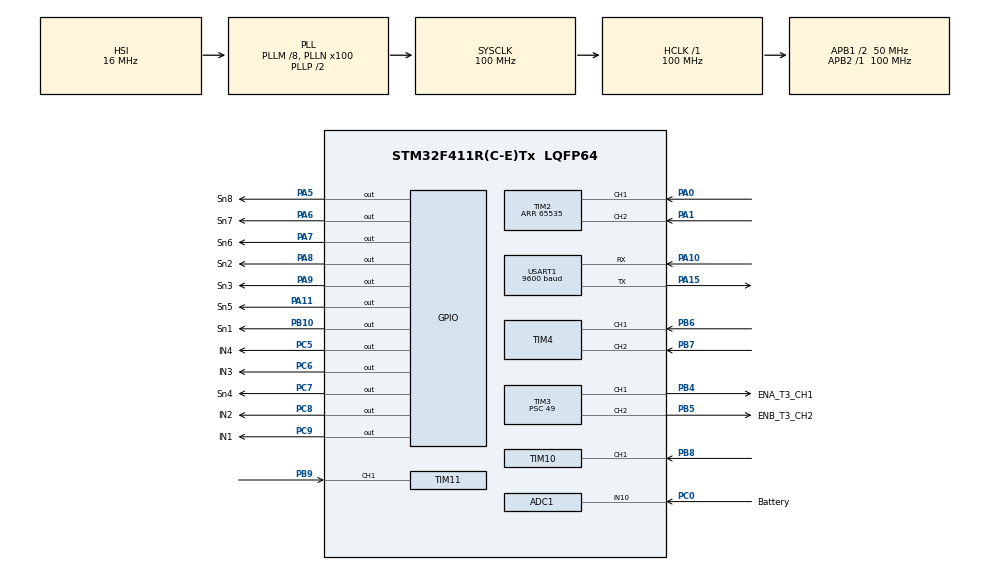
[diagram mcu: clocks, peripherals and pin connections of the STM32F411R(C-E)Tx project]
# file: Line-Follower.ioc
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ADC1.Channel-7\#ChannelRegularConversion=ADC_CHANNEL_10
ADC1.NbrOfConversionFlag=1
ADC1.Rank-7\#ChannelRegularConversion=1
ADC1.SamplingTime-7\#ChannelRegularConversion=ADC_SAMPLETIME_3CYCLES
ADC1.master=1
Dma.Request0=USART1_RX
Dma.USART1_RX.0.Direction=DMA_PERIPH_TO_MEMORY
Dma.USART1_RX.0.FIFOMode=DMA_FIFOMODE_DISABLE
Dma.USART1_RX.0.Instance=DMA2_Stream2
Dma.USART1_RX.0.MemDataAlignment=DMA_MDATAALIGN_BYTE
Dma.USART1_RX.0.MemInc=DMA_MINC_ENABLE
Dma.USART1_RX.0.Mode=DMA_NORMAL
Dma.USART1_RX.0.PeriphDataAlignment=DMA_PDATAALIGN_BYTE
Dma.USART1_RX.0.PeriphInc=DMA_PINC_DISABLE
Dma.USART1_RX.0.Priority=DMA_PRIORITY_LOW
FREERTOS.INCLUDE_vTaskDelayUntil=1
FREERTOS.Mutexes01=speedLeftMutex,Dynamic,NULL,Available;speedRightMutex,Dynamic,NULL,Available
FREERTOS.Tasks01=defaultTask,0,25000,StartDefaultTask,Default,NULL,Dynamic,NULL,NULL;pidTask,-1,25000,StartPIDTask,Default,NULL,Dynamic,NULL,NULL;mpcTask,-2,25000,StartMPCTask,Default,NULL,Dynamic,NULL,NULL
FREERTOS.configMINIMAL_STACK_SIZE=6000
FREERTOS.configTICK_RATE_HZ=1000
FREERTOS.configTOTAL_HEAP_SIZE=24000
FREERTOS.configUSE_NEWLIB_REENTRANT=1
Mcu.Family=STM32F4
Mcu.Name=STM32F411R(C-E)Tx
Mcu.Package=LQFP64
NVIC.DMA2_Stream2_IRQn=true\:5\:0\:false\:false\:true\:true\:false\:true\:true
NVIC.PriorityGroup=NVIC_PRIORITYGROUP_4
NVIC.TIM1_UP_TIM10_IRQn=true\:5\:0\:false\:false\:true\:false\:true\:true\:true
NVIC.TIM4_IRQn=true\:5\:0\:false\:false\:true\:true\:true\:true\:true
NVIC.TimeBase=TIM1_UP_TIM10_IRQn
NVIC.TimeBaseIP=TIM1
NVIC.USART1_IRQn=true\:5\:0\:false\:false\:true\:true\:true\:true\:true
PA0-WKUP.Signal=S_TIM2_CH1_ETR
PA1.Signal=S_TIM2_CH2
PA10.Mode=Asynchronous
PA10.Signal=USART1_RX
PA11.GPIO_Label=Sn5
PA11.Signal=GPIO_Output
PA13.GPIO_Label=TMS
PA13.Mode=Serial_Wire
PA13.Signal=SYS_JTMS-SWDIO
PA14.GPIO_Label=TCK
PA14.Mode=Serial_Wire
PA14.Signal=SYS_JTCK-SWCLK
PA15.Mode=Asynchronous
PA15.Signal=USART1_TX
PA5.GPIO_Label=Sn8
PA5.Signal=GPIO_Output
PA6.GPIO_Label=Sn7
PA6.Signal=GPIO_Output
PA7.GPIO_Label=Sn6
PA7.Signal=GPIO_Output
PA8.GPIO_Label=Sn2
PA8.Signal=GPIO_Output
PA9.GPIO_Label=Sn3
PA9.Signal=GPIO_Output
PB10.GPIO_Label=Sn1
PB10.Signal=GPIO_Output
PB4.GPIO_Label=ENA_T3_CH1
PB4.Signal=S_TIM3_CH1
PB5.GPIO_Label=ENB_T3_CH2
PB5.Signal=S_TIM3_CH2
PB6.GPIO_PuPd=GPIO_PULLUP
PB6.Signal=S_TIM4_CH1
PB7.GPIO_PuPd=GPIO_PULLUP
PB7.Signal=S_TIM4_CH2
PB8.Signal=S_TIM10_CH1
PB9.Signal=S_TIM11_CH1
PC0.GPIO_Label=Battery
PC0.Signal=ADCx_IN10
PC5.GPIO_Label=IN4
PC5.Signal=GPIO_Output
PC6.GPIO_Label=IN3
PC6.Signal=GPIO_Output
PC7.GPIO_Label=Sn4
PC7.Signal=GPIO_Output
PC8.GPIO_Label=IN2
PC8.Signal=GPIO_Output
PC9.GPIO_Label=IN1
PC9.Signal=GPIO_Output
ProjectManager.HeapSize=0x200
ProjectManager.StackSize=0x400
ProjectManager.TargetToolchain=STM32CubeIDE
RCC.48MHZClocksFreq_Value=50000000
RCC.AHBFreq_Value=100000000
RCC.APB1CLKDivider=RCC_HCLK_DIV2
RCC.APB1Freq_Value=50000000
RCC.APB1TimFreq_Value=100000000
RCC.APB2Freq_Value=100000000
RCC.APB2TimFreq_Value=100000000
RCC.CortexFreq_Value=100000000
RCC.FLatency-AdvancedSettings=FLASH_LATENCY_3
RCC.HCLKFreq_Value=100000000
RCC.HSE_VALUE=8000000
RCC.HSI_VALUE=16000000
RCC.LSE_VALUE=32768
RCC.PLLM=8
RCC.PLLN=100
RCC.RCC_RTC_Clock_Source=RCC_RTCCLKSOURCE_LSI
RCC.RCC_RTC_Clock_SourceVirtual=RCC_RTCCLKSOURCE_LSI
RCC.SYSCLKFreq_VALUE=100000000
RCC.SYSCLKSource=RCC_SYSCLKSOURCE_PLLCLK
RCC.VCOOutputFreq_Value=200000000
SH.ADCx_IN10.0=ADC1_IN10,IN10
SH.S_TIM10_CH1.0=TIM10_CH1,Input_Capture1_from_TI1
SH.S_TIM11_CH1.0=TIM11_CH1,Input_Capture1_from_TI1
SH.S_TIM2_CH1_ETR.0=TIM2_CH1,Encoder_Interface
SH.S_TIM2_CH2.0=TIM2_CH2,Encoder_Interface
SH.S_TIM3_CH1.0=TIM3_CH1,PWM Generation1 CH1
SH.S_TIM3_CH2.0=TIM3_CH2,PWM Generation2 CH2
SH.S_TIM4_CH1.0=TIM4_CH1,Encoder_Interface
SH.S_TIM4_CH2.0=TIM4_CH2,Encoder_Interface
TIM10.Channel=TIM_CHANNEL_1
TIM10.Prescaler=99
TIM11.Channel=TIM_CHANNEL_1
TIM11.Period=9999
TIM11.Prescaler=99
TIM2.EncoderMode=TIM_ENCODERMODE_TI12
TIM2.Period=65535
TIM3.AutoReloadPreload=TIM_AUTORELOAD_PRELOAD_ENABLE
TIM3.Channel-PWM\ Generation1\ CH1=TIM_CHANNEL_1
TIM3.Channel-PWM\ Generation2\ CH2=TIM_CHANNEL_2
TIM3.OCPolarity_1=TIM_OCPOLARITY_HIGH
TIM3.OCPolarity_2=TIM_OCPOLARITY_HIGH
TIM3.Period=999
TIM3.Prescaler=49
TIM4.EncoderMode=TIM_ENCODERMODE_TI12
USART1.BaudRate=9600
USART1.VirtualMode=VM_ASYNC
VP_FREERTOS_VS_CMSIS_V1.Mode=CMSIS_V1
VP_SYS_VS_tim1.Mode=TIM1
VP_TIM10_VS_ClockSourceINT.Mode=Enable_Timer
VP_TIM11_VS_ClockSourceINT.Mode=Enable_Timer
VP_TIM3_VS_ClockSourceINT.Mode=Internal
board=NUCLEO-F411RE

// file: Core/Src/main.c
/* USER CODE BEGIN Header */
/**
  ******************************************************************************
  * @file           : main.c
  * @brief          : Main program body
  ******************************************************************************
  * @attention
  *
  * Copyright (c) 2024 STMicroelectronics.
  * All rights reserved.
  *
  * This software is licensed under terms that can be found in the LICENSE file
  * in the root directory of this software component.
  * If no LICENSE file comes with this software, it is provided AS-IS.
  *
  ******************************************************************************
  */
/* USER CODE END Header */
#include "main.h"
#include "cmsis_os.h"
#include "adc.h"
#include "dma.h"
#include "tim.h"
#include "usart.h"
#include "gpio.h"

/* USER CODE BEGIN Includes */
#include <string.h>
#include <stdlib.h>
#include "drive.h"
#include "sensors.h"
/* USER CODE END Includes */

/* USER CODE BEGIN PV */

uint8_t ReceiveBuffer[16];

driveState carState = STOP;

/* USER CODE END PV */

void SystemClock_Config(void);
void MX_FREERTOS_Init(void);

int main(void)
{

  /* MCU Configuration--------------------------------------------------------*/

  /* Reset of all peripherals, Initializes the Flash interface and the Systick. */
  HAL_Init();

  /* Configure the system clock */
  SystemClock_Config();

  /* Initialize all configured peripherals */
  MX_GPIO_Init();
  MX_DMA_Init();
  MX_TIM3_Init();
  MX_USART1_UART_Init();
  MX_ADC1_Init();
  MX_TIM11_Init();
  MX_TIM2_Init();
  MX_TIM4_Init();
  MX_TIM10_Init();
  /* USER CODE BEGIN 2 */
  HAL_TIM_Base_Start_IT(&htim3);
  HAL_TIM_PWM_Start(&htim3, TIM_CHANNEL_1);
  HAL_TIM_PWM_Start(&htim3, TIM_CHANNEL_2);
  __HAL_TIM_SET_COMPARE(&htim3, TIM_CHANNEL_1, 0);
  __HAL_TIM_SET_COMPARE(&htim3, TIM_CHANNEL_2, 0);
  HAL_UARTEx_ReceiveToIdle_DMA(&huart1, ReceiveBuffer, 16);
  //HAL_TIM_Base_Start_IT(&htim10);

  HAL_TIM_Encoder_Start(&htim2, TIM_CHANNEL_ALL);
  HAL_TIM_Encoder_Start(&htim4, TIM_CHANNEL_ALL);

  HAL_TIM_Base_Start(&htim10);
  HAL_TIM_IC_Start(&htim10,TIM_CHANNEL_1);

  /* USER CODE END 2 */

  /* Call init function for freertos objects (in cmsis_os2.c) */
  MX_FREERTOS_Init();

  /* Start scheduler */
  osKernelStart();

  /* We should never get here as control is now taken by the scheduler */

  /* Infinite loop */
  while (1)
  {

  }
}

void SystemClock_Config(void)
{
  RCC_OscInitTypeDef RCC_OscInitStruct = {0};
  RCC_ClkInitTypeDef RCC_ClkInitStruct = {0};

  /** Configure the main internal regulator output voltage
  */
  __HAL_RCC_PWR_CLK_ENABLE();
  __HAL_PWR_VOLTAGESCALING_CONFIG(PWR_REGULATOR_VOLTAGE_SCALE1);

  /** Initializes the RCC Oscillators according to the specified parameters
  * in the RCC_OscInitTypeDef structure.
  */
  RCC_OscInitStruct.OscillatorType = RCC_OSCILLATORTYPE_HSI;
  RCC_OscInitStruct.HSIState = RCC_HSI_ON;
  RCC_OscInitStruct.HSICalibrationValue = RCC_HSICALIBRATION_DEFAULT;
  RCC_OscInitStruct.PLL.PLLState = RCC_PLL_ON;
  RCC_OscInitStruct.PLL.PLLSource = RCC_PLLSOURCE_HSI;
  RCC_OscInitStruct.PLL.PLLM = 8;
  RCC_OscInitStruct.PLL.PLLN = 100;
  RCC_OscInitStruct.PLL.PLLP = RCC_PLLP_DIV2;
  RCC_OscInitStruct.PLL.PLLQ = 4;
  if (HAL_RCC_OscConfig(&RCC_OscInitStruct) != HAL_OK)
  {
    Error_Handler();
  }

  /** Initializes the CPU, AHB and APB buses clocks
  */
  RCC_ClkInitStruct.ClockType = RCC_CLOCKTYPE_HCLK|RCC_CLOCKTYPE_SYSCLK
                              |RCC_CLOCKTYPE_PCLK1|RCC_CLOCKTYPE_PCLK2;
  RCC_ClkInitStruct.SYSCLKSource = RCC_SYSCLKSOURCE_PLLCLK;
  RCC_ClkInitStruct.AHBCLKDivider = RCC_SYSCLK_DIV1;
  RCC_ClkInitStruct.APB1CLKDivider = RCC_HCLK_DIV2;
  RCC_ClkInitStruct.APB2CLKDivider = RCC_HCLK_DIV1;

  if (HAL_RCC_ClockConfig(&RCC_ClkInitStruct, FLASH_LATENCY_3) != HAL_OK)
  {
    Error_Handler();
  }
}

/* USER CODE BEGIN 4 */

/**
  * @brief  Handles receiving data from UART.
  * @param  huart UART handle.
  * @param  Size size of received data.
  * @retval None
  */
void HAL_UARTEx_RxEventCallback(UART_HandleTypeDef *huart, uint16_t Size)
{

    if(huart->Instance == USART1)
    {
    	for(uint8_t i = 0; i < Size; ++i){
    		if((char)ReceiveBuffer[i] == 'm'){
    			carState = REG_MPC;
    		}else if((char)ReceiveBuffer[i] == 'p'){
    			carState = REG_PID;
    		}else if((char)ReceiveBuffer[i] == 's'){
    			carState = STOP;
    		}

    	}
        HAL_UARTEx_ReceiveToIdle_DMA(&huart1, ReceiveBuffer, 16);
    }
}

/* USER CODE END 4 */

void HAL_TIM_PeriodElapsedCallback(TIM_HandleTypeDef *htim)
{
  if (htim->Instance == TIM1) {
    HAL_IncTick();
  }
}

void Error_Handler(void)
{
  __disable_irq();
  while (1)
  {
  }
}

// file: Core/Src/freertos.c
/* USER CODE BEGIN Header */
/**
  ******************************************************************************
  * File Name          : freertos.c
  * Description        : Code for freertos applications
  ******************************************************************************
  * @attention
  *
  * Copyright (c) 2024 STMicroelectronics.
  * All rights reserved.
  *
  * This software is licensed under terms that can be found in the LICENSE file
  * in the root directory of this software component.
  * If no LICENSE file comes with this software, it is provided AS-IS.
  *
  ******************************************************************************
  */
/* USER CODE END Header */

#include "FreeRTOS.h"
#include "task.h"
#include "main.h"
#include "cmsis_os.h"

/* USER CODE BEGIN Includes */
#include "drive.h"
#include "sensors.h"
#include "tim.h"
#include "MPC.h"

/* USER CODE END Includes */

/* USER CODE BEGIN PD */
#define DEAFAULT_TASK_PERIOD pdMS_TO_TICKS(500)
#define MOTOR_PID_TASK_PERIOD pdMS_TO_TICKS(10)
#define MPC_TASK_PERIOD pdMS_TO_TICKS(50)
#define PID_TASK_PERIOD pdMS_TO_TICKS(25)

/* USER CODE END PD */

/* USER CODE BEGIN PM */
#define MAX_COUNTER 400

/* USER CODE END PM */

/* USER CODE BEGIN Variables */
volatile float rightSpeed=0;
volatile float leftSpeed=0;

volatile int16_t rightGoal = 100;
volatile int16_t leftGoal = 100;

float posHistory[MAX_COUNTER]={0};

uint16_t sn_data[8];
uint16_t min_values[8];
float errors[3]={0};

/* USER CODE END Variables */
osThreadId deafaultTaskHandle;
osThreadId PIDTaskHandle;
osThreadId motorPidTaskHandle;
osThreadId mpcTaskHandle;
osMutexId speedLeftMutexHandle;
osMutexId speedRightMutexHandle;

/* USER CODE BEGIN FunctionPrototypes */
//bool have_different_signs(float a, float b);

/* USER CODE END FunctionPrototypes */

void StartDeafaultTask(void const * argument);
void StartPIDTask(void const * argument);
void StartMotorPIDTask(void const * argument);
void StartMPCTask(void const * argument);

void MX_FREERTOS_Init(void); /* (MISRA C 2004 rule 8.1) */

/* GetIdleTaskMemory prototype (linked to static allocation support) */
void vApplicationGetIdleTaskMemory( StaticTask_t **ppxIdleTaskTCBBuffer, StackType_t **ppxIdleTaskStackBuffer, uint32_t *pulIdleTaskStackSize );

/* USER CODE BEGIN GET_IDLE_TASK_MEMORY */
static StaticTask_t xIdleTaskTCBBuffer;
static StackType_t xIdleStack[configMINIMAL_STACK_SIZE];

void vApplicationGetIdleTaskMemory( StaticTask_t **ppxIdleTaskTCBBuffer, StackType_t **ppxIdleTaskStackBuffer, uint32_t *pulIdleTaskStackSize )
{
  *ppxIdleTaskTCBBuffer = &xIdleTaskTCBBuffer;
  *ppxIdleTaskStackBuffer = &xIdleStack[0];
  *pulIdleTaskStackSize = configMINIMAL_STACK_SIZE;
  /* place for user code */
}
/* USER CODE END GET_IDLE_TASK_MEMORY */

void MX_FREERTOS_Init(void) {
  /* USER CODE BEGIN Init */

  calibrate(min_values);

  /* USER CODE END Init */
  /* Create the mutex(es) */
  /* definition and creation of speedLeftMutex */
  osMutexDef(speedLeftMutex);
  speedLeftMutexHandle = osMutexCreate(osMutex(speedLeftMutex));

  /* definition and creation of speedRightMutex */
  osMutexDef(speedRightMutex);
  speedRightMutexHandle = osMutexCreate(osMutex(speedRightMutex));

  /* Create the thread(s) */
  /* definition and creation of defaultTask */
  osThreadDef(PidTask, StartPIDTask, osPriorityNormal, 0, 128);
  PIDTaskHandle = osThreadCreate(osThread(PidTask), NULL);
  osThreadSuspend(PIDTaskHandle);

  /* definition and creation of pidTask */
  osThreadDef(motorPidTask, StartMotorPIDTask, osPriorityHigh, 0, 128);
  motorPidTaskHandle = osThreadCreate(osThread(motorPidTask), NULL);
  osThreadSuspend(motorPidTaskHandle);

  /* definition and creation of mpcTask */
  osThreadDef(mpcTask, StartMPCTask, osPriorityNormal, 0, 1024);
  mpcTaskHandle = osThreadCreate(osThread(mpcTask), NULL);
  osThreadSuspend(mpcTaskHandle);

  /* USER CODE BEGIN RTOS_THREADS */
  /* add threads, ... */
  osThreadDef(deafaultTask, StartDeafaultTask, osPriorityHigh, 0, 128);
  deafaultTaskHandle = osThreadCreate(osThread(deafaultTask), NULL);
  /* USER CODE END RTOS_THREADS */

}

void StartDeafaultTask(void const * argument){
	TickType_t xLastWakeTime;
	xLastWakeTime = xTaskGetTickCount();
	driveState oldCarState = STOP;
	for(;;){

		if(oldCarState != carState){
			if(carState == REG_PID){
				osThreadSuspend(motorPidTaskHandle);
				osThreadSuspend(mpcTaskHandle);
				osThreadResume(PIDTaskHandle);
			}else if(carState == REG_MPC){
				osThreadSuspend(PIDTaskHandle);
				osThreadResume(mpcTaskHandle);
				osThreadResume(motorPidTaskHandle);
			}else if(carState == STOP){
				osThreadSuspend(motorPidTaskHandle);
				osThreadSuspend(mpcTaskHandle);
				osThreadSuspend(PIDTaskHandle);
			}
			drive_from_reg(0,0);
			if(oldCarState != STOP && carState == STOP){
				  for(uint16_t i = 0; i < MAX_COUNTER; ++i){
					  sendSensorPosition(posHistory[i]);
				  }
			}
			oldCarState = carState;
		}

		vTaskDelayUntil(&xLastWakeTime, DEAFAULT_TASK_PERIOD);
	}
}

void StartPIDTask(void const * argument)
{
  /* USER CODE BEGIN StartDefaultTask */
	TickType_t xLastWakeTime;
	xLastWakeTime = xTaskGetTickCount();

	const float T=0.025;
	const float K = 60;
	const float Ti = 2;
	const float Td = 0.04;
	PIDparams pidParameters={0};
	calculate_PID_params(T,K,Ti,Td, &pidParameters);

	float U=0;
	float errors[3]={0};
	float baseSpeed = 200;
	uint16_t counter = 0;

  /* Infinite loop */

  for(;;)
  {
	 get_and_Format_Sn_Data(min_values, sn_data, errors);
	 U = PID(U, &pidParameters, errors);
	 baseSpeed = 300 - map((uint16_t)(fabsf(errors[0])*100),0,400,0,300);
	 drive_from_reg((int16_t)(baseSpeed+U),(int16_t)(baseSpeed-U));
	 vTaskDelayUntil(&xLastWakeTime, PID_TASK_PERIOD);
	  if(counter == MAX_COUNTER){
		  carState = STOP;

	  }else{
		  posHistory[counter] = errors[0];
		  ++counter;
	  }

  }
  /* USER CODE END StartDefaultTask */
}

void StartMotorPIDTask(void const * argument)
{
  /* USER CODE BEGIN StartPIDTask */
//
//	HAL_TIM_IC_Start(&htim10, TIM_CHANNEL_1);
	uint16_t encoderRightCount = 0;
	uint16_t lastEncoderRightCount = 0;

	uint16_t encoderLeftCount = 0;
	uint16_t lastEncoderLeftCount = 0;

	const float kp = 0.7;
	const float kd = 0.01;
	const float ki = 2;

	float rightE = 0;
	float rightEPrev = 0;
	const float deltaT = 0.01;
	float rightEintegral = 0;

	float leftE = 0;
	float leftEPrev = 0;
	float leftEintegral = 0;

	float diffE = 0;

	TickType_t xLastWakeTime;
	xLastWakeTime = xTaskGetTickCount();
	/* Infinite loop */
	for(;;)
	{
		/* Right motor */
		encoderRightCount = TIM2->CNT;

		rightSpeed = (encoderRightCount - lastEncoderRightCount)/deltaT;
		lastEncoderRightCount = encoderRightCount;

		rightE = rightGoal - rightSpeed;
		diffE = rightE - rightEPrev;
		if(have_different_signs(rightE, rightEPrev)){
			if(diffE>200 || diffE<-200) rightEintegral = 0;
		}

		rightEintegral = rightEintegral + rightE*deltaT;
		float rightU = kp*(rightE + kd*diffE/deltaT + ki*rightEintegral);
		rightEPrev = rightE;

		/*Left motor */
		encoderLeftCount = TIM4->CNT;

		leftSpeed = (lastEncoderLeftCount - encoderLeftCount)/deltaT;

		lastEncoderLeftCount = encoderLeftCount;

		leftE = leftGoal - leftSpeed;
		diffE = leftE - leftEPrev;
		if(have_different_signs(leftE, leftEPrev)){
			if(diffE>200 || diffE<-200) leftEintegral = 0; //anti-windup
		}
		leftEintegral = leftEintegral + leftE*deltaT;
		float leftU = kp*(leftE + kd*diffE/deltaT + ki*leftEintegral);
		leftEPrev = leftE;

		drive_right((int16_t)rightU);
		drive_left((int16_t)leftU);

		vTaskDelayUntil(&xLastWakeTime, MOTOR_PID_TASK_PERIOD);
	}
  /* USER CODE END StartPIDTask */
}

void StartMPCTask(void const * argument)
{
  /* USER CODE BEGIN StartMPCTask */
  TickType_t xLastWakeTime;
  xLastWakeTime = xTaskGetTickCount();
  float Y[] = {0.14, 0};
  float U[] = {0, 0};

  uint16_t counter = 0;

  QProblem_setup(4,4,4);

  /* Infinite loop */

  for(;;)
  {
	  get_and_Format_Sn_Data(min_values, sn_data, errors);
	  Y[1]= errors[0]/100;
	  calculateControl(Y, U);

	  if(osMutexWait(speedLeftMutexHandle, 100) == osOK){
		  rightGoal = U[1]/(2*PI)*360;
		  leftGoal = U[0]/(2*PI)*360;
		  osMutexRelease(speedLeftMutexHandle);
	  }

	  if(counter == MAX_COUNTER-1){
		  carState = STOP;

	  }else{
	  posHistory[counter] = errors[0];
	  ++counter;
	  }
	  vTaskDelayUntil(&xLastWakeTime, MPC_TASK_PERIOD);
  }
  /* USER CODE END StartMPCTask */
}
